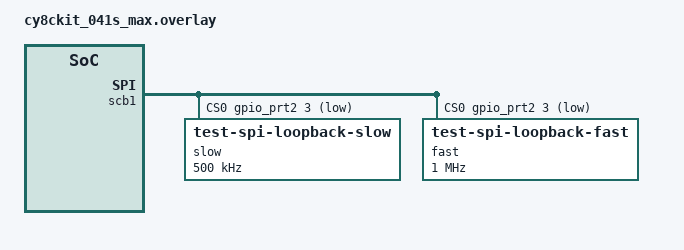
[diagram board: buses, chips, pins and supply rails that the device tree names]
/*
 * Copyright (c) 2025 Infineon Technologies AG,
 * or an affiliate of Infineon Technologies AG.
 *
 * SPDX-License-Identifier: Apache-2.0
 */

tst_dma0: &dma0 {
	status = "okay";
};

spi: &scb1 {
	compatible = "infineon,spi";
	status = "okay";
	pinctrl-0 = <&p2_0_scb1_spi_m_mosi &p2_1_scb1_spi_m_miso &p2_2_scb1_spi_m_clk>;
	pinctrl-names = "default";
	cs-gpios = <&gpio_prt2 3 GPIO_ACTIVE_LOW>;
	slow@0 {
		compatible = "test-spi-loopback-slow";
		reg = <0>;
		spi-max-frequency = <500000>;
	};
	fast@0 {
		compatible = "test-spi-loopback-fast";
		reg = <0>;
		spi-max-frequency = <1000000>;
	};
};

&gpio_prt2 {
	status = "okay";
};
